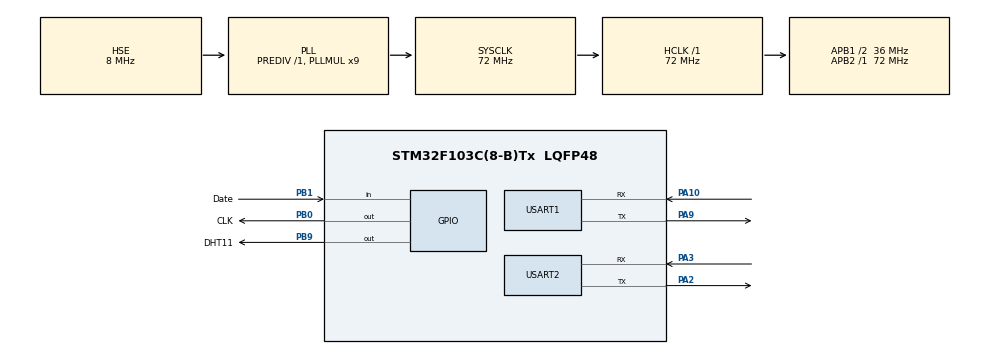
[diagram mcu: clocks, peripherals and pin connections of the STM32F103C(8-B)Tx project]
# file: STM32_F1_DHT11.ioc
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Mcu.Family=STM32F1
Mcu.Name=STM32F103C(8-B)Tx
Mcu.Package=LQFP48
NVIC.PriorityGroup=NVIC_PRIORITYGROUP_4
NVIC.TIM2_IRQn=true\:0\:0\:false\:false\:true\:true\:true\:true
NVIC.USART1_IRQn=true\:1\:0\:true\:false\:true\:true\:true\:true
NVIC.USART2_IRQn=true\:0\:0\:true\:false\:true\:true\:true\:true
PA10.Mode=Asynchronous
PA10.Signal=USART1_RX
PA13.Mode=Serial_Wire
PA13.Signal=SYS_JTMS-SWDIO
PA14.Mode=Serial_Wire
PA14.Signal=SYS_JTCK-SWCLK
PA2.Mode=Asynchronous
PA2.Signal=USART2_TX
PA3.Mode=Asynchronous
PA3.Signal=USART2_RX
PA9.Mode=Asynchronous
PA9.Signal=USART1_TX
PB0.GPIO_Label=CLK
PB0.GPIO_PuPd=GPIO_PULLDOWN
PB0.GPIO_Speed=GPIO_SPEED_FREQ_HIGH
PB0.PinState=GPIO_PIN_SET
PB0.Signal=GPIO_Output
PB1.GPIO_Label=Date
PB1.GPIO_PuPd=GPIO_NOPULL
PB1.Signal=GPIO_Input
PB9.GPIO_Label=DHT11
PB9.GPIO_ModeDefaultOutputPP=GPIO_MODE_OUTPUT_PP
PB9.GPIO_PuPd=GPIO_PULLUP
PB9.GPIO_Speed=GPIO_SPEED_FREQ_HIGH
PB9.PinState=GPIO_PIN_SET
PB9.Signal=GPIO_Output
PD0-OSC_IN.Mode=HSE-External-Oscillator
PD0-OSC_IN.Signal=RCC_OSC_IN
PD1-OSC_OUT.Mode=HSE-External-Oscillator
PD1-OSC_OUT.Signal=RCC_OSC_OUT
ProjectManager.HeapSize=0x200
ProjectManager.StackSize=0x400
ProjectManager.TargetToolchain=MDK-ARM V5.32
RCC.AHBFreq_Value=72000000
RCC.APB1CLKDivider=RCC_HCLK_DIV2
RCC.APB1Freq_Value=36000000
RCC.APB1TimFreq_Value=72000000
RCC.APB2Freq_Value=72000000
RCC.APB2TimFreq_Value=72000000
RCC.HCLKFreq_Value=72000000
RCC.PLLMUL=RCC_PLL_MUL9
RCC.PLLSourceVirtual=RCC_PLLSOURCE_HSE
RCC.SYSCLKFreq_VALUE=72000000
RCC.SYSCLKSource=RCC_SYSCLKSOURCE_PLLCLK
RCC.USBFreq_Value=72000000
TIM2.AutoReloadPreload=TIM_AUTORELOAD_PRELOAD_ENABLE
TIM2.Period=9999
TIM2.Prescaler=71
USART1.VirtualMode=VM_ASYNC
USART2.VirtualMode=VM_ASYNC
VP_TIM2_VS_ClockSourceINT.Mode=Internal
board=custom

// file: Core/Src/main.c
#include "main.h"
#include "tim.h"
#include "usart.h"
#include "gpio.h"

/* USER CODE BEGIN Includes */
#include "dht11.h"
#include "stdio.h"
#include "string.h"
#include "wifi.h"
/* USER CODE END Includes */

/* USER CODE BEGIN PTD */
uint32_t weight_first = 0;//首次质量
uint32_t weight_real = 0;//每次读取的实际值
uint32_t weight_print = 0;
uint32_t get_hx711_ad(void);//读取AD值函数

void SystemClock_Config(void);
/* USER CODE BEGIN PFP */
char rxtran;
#define BUFFER_SIZE 30  // 根据需要可以调整缓冲区大小
uint8_t buffer[BUFFER_SIZE];
uint16_t buffer_index = 0;
char data[40];

uint16_t tim_cnt=0;
uint8_t tim_count=1;
uint8_t send_flag=0;
int value=1;
uint32_t weight=0;
/* USER CODE END PFP */

/* USER CODE BEGIN 0 */
int fputc(int ch, FILE *p);
uint32_t ReadCount(void);
uint32_t WeightReal(void);
/* USER CODE END 0 */

int main(void)
{

  HAL_Init();
  SystemClock_Config();
  MX_GPIO_Init();
  MX_USART1_UART_Init();
  MX_USART2_UART_Init();
  MX_TIM2_Init();
  /* USER CODE BEGIN 2 */
	printf("all ok \r\n");
	esp8266_init();
  setup_ap("ATK66", "12345678", 5, 3);
  start_tcp_server(8086);
	HAL_UART_Receive_IT(&huart2,(uint8_t *)&rxtran, 1);
//	HAL_TIM_Base_Start_IT(&htim2);
	HAL_Delay(1000);
	weight_first = ReadCount();//首次读取重量进行去皮操作
  printf("weight_first=%d\n",weight_first);
  /* USER CODE END 2 */

  /* Infinite loop */
  while (1)
  {
		weight_print = WeightReal();//实际质量计算
		DHT11();
		HAL_Delay(value*1000);
  }
}

void SystemClock_Config(void)
{
  RCC_OscInitTypeDef RCC_OscInitStruct = {0};
  RCC_ClkInitTypeDef RCC_ClkInitStruct = {0};

  /** Initializes the RCC Oscillators according to the specified parameters
  * in the RCC_OscInitTypeDef structure.
  */
  RCC_OscInitStruct.OscillatorType = RCC_OSCILLATORTYPE_HSE;
  RCC_OscInitStruct.HSEState = RCC_HSE_ON;
  RCC_OscInitStruct.HSEPredivValue = RCC_HSE_PREDIV_DIV1;
  RCC_OscInitStruct.HSIState = RCC_HSI_ON;
  RCC_OscInitStruct.PLL.PLLState = RCC_PLL_ON;
  RCC_OscInitStruct.PLL.PLLSource = RCC_PLLSOURCE_HSE;
  RCC_OscInitStruct.PLL.PLLMUL = RCC_PLL_MUL9;
  if (HAL_RCC_OscConfig(&RCC_OscInitStruct) != HAL_OK)
  {
    Error_Handler();
  }

  /** Initializes the CPU, AHB and APB buses clocks
  */
  RCC_ClkInitStruct.ClockType = RCC_CLOCKTYPE_HCLK|RCC_CLOCKTYPE_SYSCLK
                              |RCC_CLOCKTYPE_PCLK1|RCC_CLOCKTYPE_PCLK2;
  RCC_ClkInitStruct.SYSCLKSource = RCC_SYSCLKSOURCE_PLLCLK;
  RCC_ClkInitStruct.AHBCLKDivider = RCC_SYSCLK_DIV1;
  RCC_ClkInitStruct.APB1CLKDivider = RCC_HCLK_DIV2;
  RCC_ClkInitStruct.APB2CLKDivider = RCC_HCLK_DIV1;

  if (HAL_RCC_ClockConfig(&RCC_ClkInitStruct, FLASH_LATENCY_2) != HAL_OK)
  {
    Error_Handler();
  }
}

/* USER CODE BEGIN 4 */

	uint32_t ReadCount(void)
	{
		uint32_t Count = 0;
		uint8_t i = 0;
		HAL_Delay(10);
		HAL_GPIO_WritePin(GPIOB, GPIO_PIN_0, GPIO_PIN_RESET);
		while(HAL_GPIO_ReadPin(GPIOB, GPIO_PIN_1));//判断AD转换器是否准备好（DOUT应为低电平）
		for(i = 0; i <24; i++)//24
		{
			HAL_GPIO_WritePin(GPIOB, GPIO_PIN_0, GPIO_PIN_SET);
			Count = Count << 1;
			if(HAL_GPIO_ReadPin(GPIOB, GPIO_PIN_1))
			{
					Count ++;
			}
			HAL_GPIO_WritePin(GPIOB, GPIO_PIN_0, GPIO_PIN_RESET);
		}

		HAL_GPIO_WritePin(GPIOB, GPIO_PIN_0, GPIO_PIN_SET);
		Count = Count ^ 0x800000;
		HAL_GPIO_WritePin(GPIOB, GPIO_PIN_0, GPIO_PIN_RESET);
		return Count;
	}
	uint32_t WeightReal(void)
	{
		 weight_real = ReadCount();//实际质量计算
			if(weight_first>=weight_real)
			{
				weight_real = weight_first-weight_real;
				weight_real = weight_real*100/37074;
				//printf("重量为：%dg\n",weight_real);
			}
			else
			{
				weight_real = weight_real-weight_first;
				weight_real = weight_real*100/37074;
				//printf("重量为：-%dg\n",weight_real);
			}
			return weight_real;
	}

int fputc(int ch, FILE *p)
{
	HAL_UART_Transmit(&huart1,(uint8_t *)&ch,1,HAL_MAX_DELAY);
	return ch;
}
void HAL_UART_RxCpltCallback(UART_HandleTypeDef *huart)
{
   if (huart->Instance == USART2) {
        // Continue receiving data
        HAL_UART_Receive_IT(&huart2, (uint8_t *)&rxtran, 1);

        // Store received data into buffer
        buffer[buffer_index++] = rxtran;

        // Check if the received character is a newline or if the buffer is full
        if (rxtran == '\n' || buffer_index == BUFFER_SIZE) {
            buffer[buffer_index] = '\0';  // Null-terminate for string operations

            printf("%s\r\n", buffer);  // Print the entire buffer content

            // Parse the specific format of data looking for a number after a colon
            char *ptr = strchr((char *)buffer, ':');
            if (ptr) {
                int extracted_value;
                if (sscanf(ptr + 1, "%d", &value) == 1) {
                    printf("Received value: %d\r\n", value);
                }
            }

            buffer_index = 0;  // Reset buffer index
        }
    }
//    if (huart->Instance == USART2) {
//        // 将接收到的数据存储到buffer中
//        buffer[buffer_index++] = rxtran;// 假设每次只接收一个字节
//         HAL_UART_Receive_IT(&huart2, (uint8_t *)&rxtran, 1); // 继续接收下一个字节

//        // 如果接收到换行符或者缓冲区满，发送数据
//        if (buffer[buffer_index-1] == '\n' || buffer_index == BUFFER_SIZE) {
//            HAL_UART_Transmit(&huart1, buffer, buffer_index, HAL_MAX_DELAY);  // 通过USART2发送数据
//            buffer_index = 0;  // 重置缓冲区索引
//        }
//    }
}

void HAL_TIM_PeriodElapsedCallback(TIM_HandleTypeDef *htim)//10ms进一次
{
	tim_cnt++;
	if(tim_cnt==(100*value))//1s
	{

		tim_cnt=0;
	}
}

/* USER CODE END 4 */

void Error_Handler(void)
{
  __disable_irq();
  while (1)
  {
  }
}
